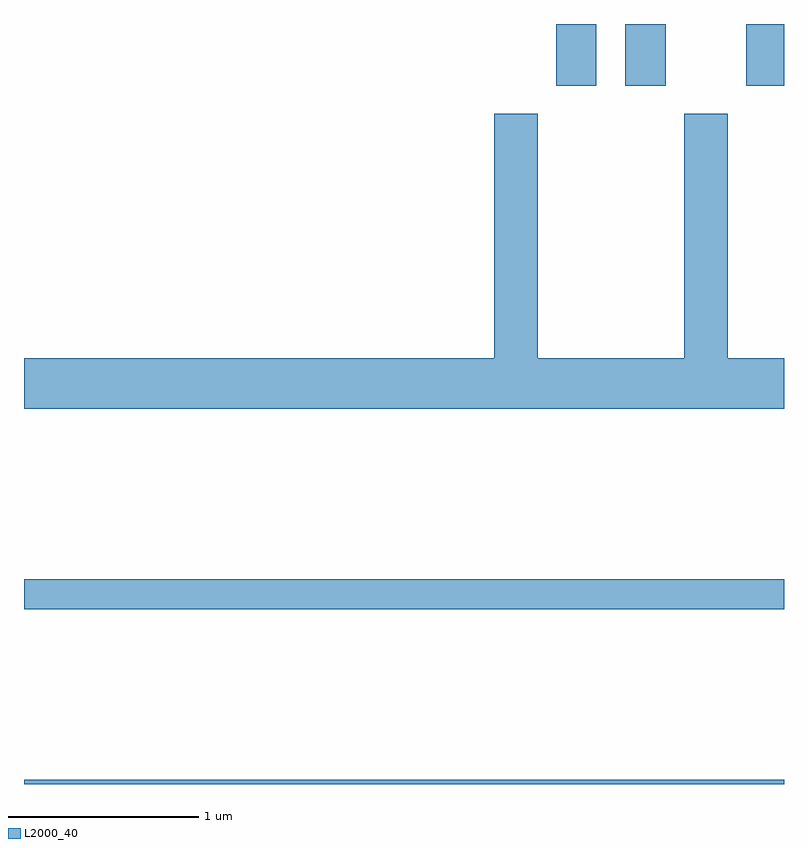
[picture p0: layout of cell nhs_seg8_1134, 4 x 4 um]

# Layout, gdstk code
import gdstk
lib = gdstk.Library(unit=1e-6, precision=1e-09)
def R(c, l, rs):  # rectangles x0, y0, x1, y1
    for r in rs: c.add(gdstk.rectangle(r[:2], r[2:], *l))
def P(c, l, *ps):  # polygons
    for p in ps: c.add(gdstk.Polygon(p, *l))
L2000_40 = (2000, 40)

nhs_seg8_1134 = lib.new_cell('nhs_seg8_1134')
R(nhs_seg8_1134, L2000_40, [(217.611,1934.342,221.611,1934.364), (217.611,1935.261,221.611,1935.419), (220.411,1938.016,220.624,1938.342), (220.776,1938.016,220.989,1938.342), (221.411,1938.016,221.611,1938.342)])
P(nhs_seg8_1134, L2000_40, [(221.611,1936.584),(221.314,1936.584),(221.314,1937.869),(221.086,1937.869),(221.086,1936.584),(220.314,1936.584),(220.314,1937.869),(220.086,1937.869),(220.086,1936.584),(217.611,1936.584),(217.611,1936.316),(221.611,1936.316)])

lib.write_gds('nhs_seg8_1134.gds')
